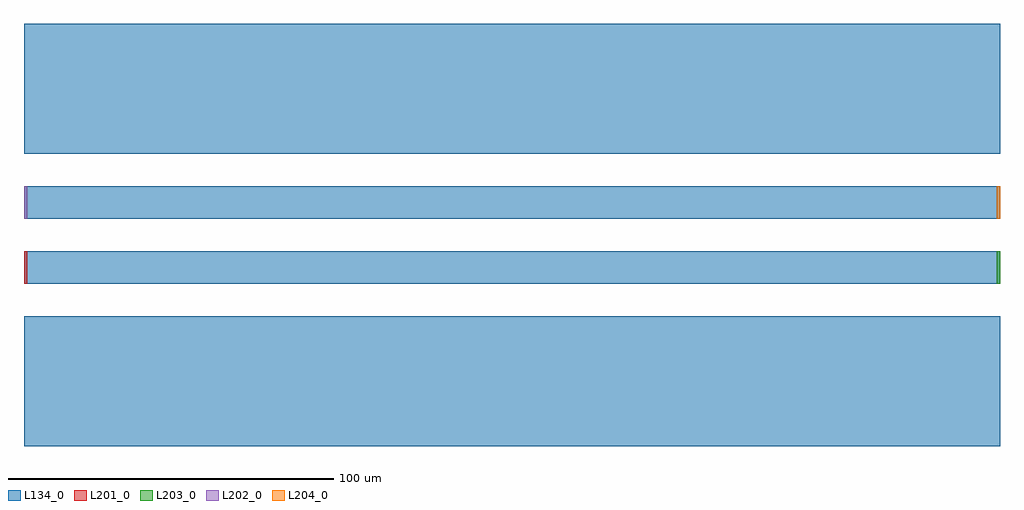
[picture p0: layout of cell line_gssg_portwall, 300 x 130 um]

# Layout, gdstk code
import gdstk
lib = gdstk.Library(unit=1e-6, precision=1e-09)
def R(c, l, rs):  # rectangles x0, y0, x1, y1
    for r in rs: c.add(gdstk.rectangle(r[:2], r[2:], *l))
L134_0 = (134, 0)
L201_0 = (201, 0)
L202_0 = (202, 0)
L203_0 = (203, 0)
L204_0 = (204, 0)

line_gssg_portwall = lib.new_cell('line_gssg_portwall')
R(line_gssg_portwall, L134_0, [(0,-65,300,-25), (0,-15,300,-5), (0,5,300,15), (0,25,300,65)])
R(line_gssg_portwall, L201_0, [(0,-15,1,-5)])
R(line_gssg_portwall, L202_0, [(0,5,1,15)])
R(line_gssg_portwall, L203_0, [(299,-15,300,-5)])
R(line_gssg_portwall, L204_0, [(299,5,300,15)])

lib.write_gds('line_gssg_portwall.gds')
